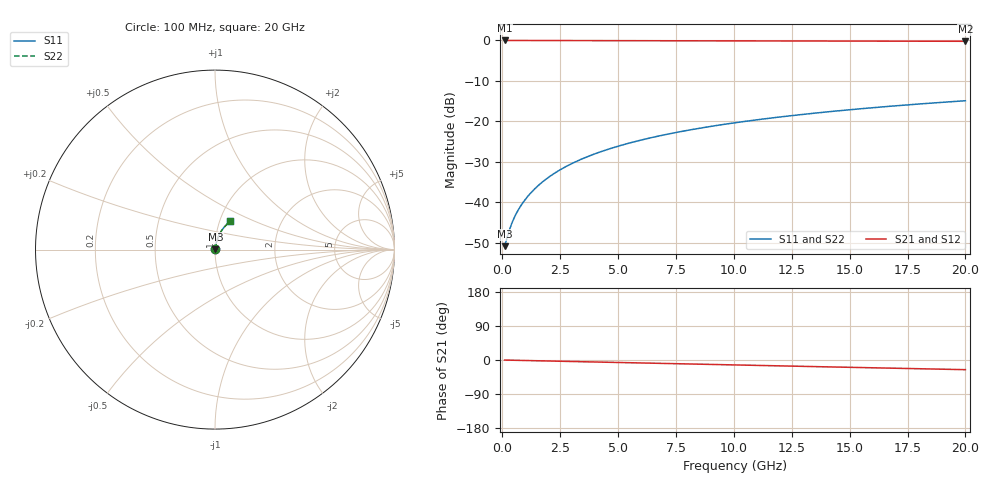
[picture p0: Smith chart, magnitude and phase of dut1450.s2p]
! Touchstone file exported from HFSS 2026.1.0
!  File:  C:/ffzhzh/LocalFiles/Ansys_Project_Files/temp_train_TMRDL_1450_1783167179_55132.aedt
!  Generated:  08:14:13 PM Jul  4, 2026
!  Design:  TMRDL
!  Project:  temp_train_TMRDL_1450_1783167179_55132
! Variables:
!  h_bsmrdl = 2um
!  h_ox = 20um
!  h_rdl = 5um
!  h_sub = 80um
!  h_tmrdl = 3um
!  h_tsv = 80um
!  h_via = 3um
!  l_bsmrdl = 300um
!  l_sub = 798.23um
!  l_tmrdl = 398.23um
!  m_sub = 200um
!  pitch = 32.15um
!  r_tsv = 6um
!  s_tmrdl = 10um
!  w_bsmrdl = 18um
!  w_sub = 500um
!  w_tmrdl = 20.02um
!  x_tsv_center1 = 408.24um
!  x_tsv_center2 = 726.24um
!  x_tsv_center3 = 1144.49um
!  x_tsv_center4 = 1462.49um
!  x_tsv_center5 = 1880.74um
!  x_tsv_center6 = 2198.74um
# GHz S MA R 50.000000
! Terminal data exported
! Port[1] = TM_RDL1_1_T1
! Port[2] = TM_RDL1_1_T2
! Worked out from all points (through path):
!   200 points, 100 MHz to 20 GHz, reference 50 ohm
!   highest |S21| = -0.02 dB at 100 MHz (marker M1); lowest = -0.2 dB at 20 GHz (marker M2)
!   group delay of S21, straight-line fit = 3.54 ps
!   lowest |S11| = -50.9 dB at 100 MHz (marker M3), VSWR 1.01, Z = 50.3 + j0.12 ohm
!   |S11| at or under -10 dB: start of sweep to end of sweep
!   |S22| runs from -50.9 to -14.9 dB; largest |S21 - S12| = 3.5e-15
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0.1  0.00285 24.7  0.9974 -0.1  0.9974 -0.1  0.00285 24.7
! Gamma 0 0 0 0
! Port Impedance 50 0 50 0
0.3  0.004453 50.0  0.9972 -0.4  0.9972 -0.4  0.004453 50.0
0.4  0.005365 55.8  0.997 -0.6  0.997 -0.6  0.005365 55.8
0.5  0.006276 59.8  0.9969 -0.7  0.9969 -0.7  0.006276 59.8
0.6  0.007183 62.8  0.9968 -0.8  0.9968 -0.8  0.007183 62.8
0.8  0.009001 67.2  0.9966 -1.1  0.9966 -1.1  0.009001 67.2
1  0.01084 70.2  0.9965 -1.3  0.9965 -1.3  0.01084 70.2
1.2  0.0127 72.4  0.9964 -1.6  0.9964 -1.6  0.0127 72.4
1.4  0.01457 74.0  0.9963 -1.9  0.9963 -1.9  0.01457 74.0
1.7  0.01742 75.7  0.9962 -2.3  0.9962 -2.3  0.01742 75.7
2.2  0.02221 77.3  0.996 -2.9  0.996 -2.9  0.02221 77.3
2.8  0.02798 78.3  0.9957 -3.7  0.9957 -3.7  0.02798 78.3
3.5  0.03473 78.6  0.9953 -4.6  0.9953 -4.6  0.03473 78.6
4.2  0.04145 78.5  0.9948 -5.5  0.9948 -5.5  0.04145 78.4
5  0.04909 78.0  0.9942 -6.6  0.9942 -6.6  0.04909 78.0
5.9  0.05761 77.3  0.9934 -7.7  0.9934 -7.7  0.05761 77.3
6.8  0.06605 76.4  0.9925 -8.9  0.9925 -8.9  0.06605 76.4
8.3  0.0799 74.9  0.9908 -10.8  0.9908 -10.8  0.0799 74.9
10.1  0.09618 72.8  0.9886 -13.1  0.9886 -13.1  0.09618 72.8
13.4  0.1251 69.0  0.9841 -17.3  0.9841 -17.3  0.1251 69.0
16.7  0.1528 65.2  0.9792 -21.4  0.9792 -21.4  0.1528 65.2
20  0.1792 61.4  0.9739 -25.5  0.9739 -25.5  0.1792 61.3
